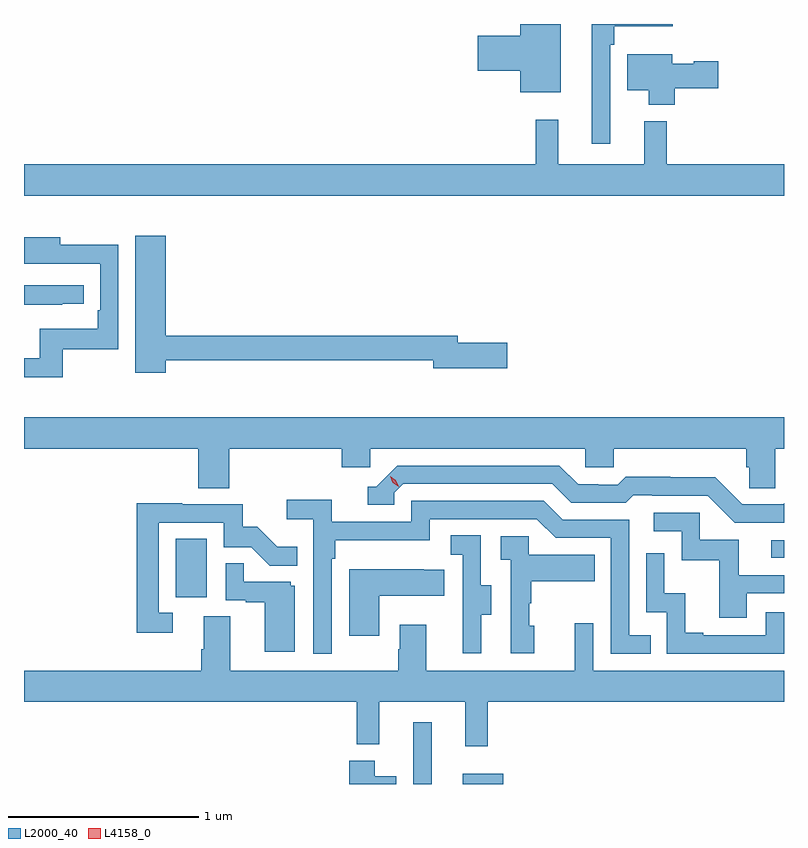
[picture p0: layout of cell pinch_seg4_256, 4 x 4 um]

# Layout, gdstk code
import gdstk
lib = gdstk.Library(unit=1e-6, precision=1e-09)
def R(c, l, rs):  # rectangles x0, y0, x1, y1
    for r in rs: c.add(gdstk.rectangle(r[:2], r[2:], *l))
def P(c, l, *ps):  # polygons
    for p in ps: c.add(gdstk.Polygon(p, *l))
L2000_40 = (2000, 40)
L4158_0 = (4158, 0)

pinch_seg4_256 = lib.new_cell('pinch_seg4_256')
R(pinch_seg4_256, L2000_40, [(928.473,827.023,928.57,827.347), (928.733,827.023,928.948,827.077), (927.224,828.006,927.388,828.313), (930.357,828.213,930.425,828.306)])
P(pinch_seg4_256, L2000_40, [(929.511,830.915),(929.531,830.915),(929.531,831.011),(929.839,831.011),(929.839,831.023),(929.414,831.023),(929.414,830.394),(929.511,830.394)],
  [(929.251,831.023),(929.036,831.023),(929.036,830.96),(928.812,830.96),(928.812,830.777),(929.036,830.777),(929.036,830.663),(929.251,830.663)],
  [(929.849,830.686),(930.079,830.686),(930.079,830.828),(929.949,830.828),(929.949,830.815),(929.836,830.815),(929.836,830.863),(929.6,830.863),(929.6,830.675),(929.714,830.675),(929.714,830.597),(929.849,830.597)],
  [(930.425,830.284),(929.807,830.284),(929.807,830.512),(929.69,830.512),(929.69,830.284),(929.237,830.284),(929.237,830.518),(929.119,830.518),(929.119,830.284),(926.425,830.284),(926.425,830.12),(930.425,830.12)],
  [(927.172,829.254),(928.58,829.254),(928.58,829.211),(928.969,829.211),(928.969,829.346),(928.708,829.346),(928.708,829.382),(927.172,829.382),(927.172,829.909),(927.011,829.909),(927.011,829.188),(927.172,829.188)],
  [(926.629,829.311),(926.922,829.311),(926.922,829.862),(926.617,829.862),(926.617,829.9),(926.425,829.9),(926.425,829.76),(926.513,829.76),(926.513,829.761),(926.826,829.761),(926.826,829.516),(926.813,829.516),(926.813,829.42),(926.508,829.42),(926.508,829.265),(926.425,829.265),(926.425,829.164),(926.629,829.164)],
  [(926.627,829.551),(926.74,829.551),(926.74,829.647),(926.425,829.647),(926.425,829.546),(926.627,829.546)],
  [(927.506,828.788),(928.097,828.788),(928.097,828.69),(928.248,828.69),(928.248,828.788),(929.379,828.788),(929.379,828.69),(929.529,828.69),(929.529,828.788),(930.227,828.788),(930.227,828.69),(930.241,828.69),(930.241,828.58),(930.378,828.58),(930.378,828.788),(930.425,828.788),(930.425,828.952),(926.425,828.952),(926.425,828.788),(927.341,828.788),(927.341,828.58),(927.506,828.58)],
  [(930.425,828.5),(930.42,828.495),(930.204,828.495),(930.062,828.637),(929.826,828.637),(929.826,828.64),(929.593,828.64),(929.551,828.597),(929.448,828.597),(929.448,828.6),(929.341,828.6),(929.242,828.699),(928.389,828.699),(928.278,828.588),(928.235,828.588),(928.235,828.492),(928.374,828.492),(928.374,828.555),(928.422,828.603),(929.205,828.603),(929.304,828.504),(929.593,828.504),(929.632,828.543),(929.731,828.543),(929.731,828.54),(930.024,828.54),(930.165,828.399),(930.425,828.399)],
  [(928.044,828.209),(928.064,828.209),(928.064,828.305),(928.56,828.305),(928.56,828.417),(929.124,828.417),(929.223,828.318),(929.514,828.318),(929.514,827.709),(929.723,827.709),(929.723,827.805),(929.61,827.805),(929.61,828.414),(929.26,828.414),(929.161,828.513),(928.464,828.513),(928.464,828.402),(928.046,828.402),(928.046,828.518),(927.807,828.518),(927.807,828.416),(927.948,828.416),(927.948,827.709),(928.044,827.709)],
  [(927.208,827.925),(927.135,827.925),(927.135,828.399),(927.477,828.399),(927.477,828.27),(927.621,828.27),(927.719,828.172),(927.863,828.172),(927.863,828.271),(927.759,828.271),(927.652,828.378),(927.576,828.378),(927.576,828.495),(927.257,828.495),(927.257,828.5),(927.019,828.5),(927.019,827.82),(927.208,827.82)],
  [(930.229,828.027),(930.425,828.027),(930.425,828.123),(930.187,828.123),(930.187,828.309),(929.982,828.309),(929.982,828.45),(929.739,828.45),(929.739,828.354),(929.886,828.354),(929.886,828.201),(930.085,828.201),(930.085,827.898),(930.229,827.898)],
  [(928.831,827.914),(928.885,827.914),(928.885,828.069),(928.83,828.069),(928.83,828.332),(928.671,828.332),(928.671,828.229),(928.734,828.229),(928.734,827.925),(928.733,827.925),(928.733,827.712),(928.831,827.712)],
  [(929.11,827.856),(929.085,827.856),(929.085,827.975),(929.095,827.975),(929.095,828.089),(929.429,828.089),(929.429,828.229),(929.082,828.229),(929.082,828.327),(928.935,828.327),(928.935,828.203),(928.986,828.203),(928.986,827.712),(929.11,827.712)],
  [(930.425,827.928),(930.33,827.928),(930.33,827.805),(930.001,827.805),(930.001,827.818),(929.906,827.818),(929.906,828.026),(929.796,828.026),(929.796,828.238),(929.7,828.238),(929.7,827.928),(929.808,827.928),(929.808,827.709),(930.425,827.709)],
  [(927.85,828.066),(927.828,828.066),(927.828,828.087),(927.581,828.087),(927.581,828.185),(927.486,828.185),(927.486,827.991),(927.593,827.991),(927.593,827.979),(927.692,827.979),(927.692,827.718),(927.85,827.718)],
  [(928.294,828.014),(928.637,828.014),(928.637,828.151),(928.529,828.151),(928.529,828.154),(928.136,828.154),(928.136,827.802),(928.294,827.802)],
  [(928.403,827.86),(928.403,827.732),(928.396,827.732),(928.396,827.62),(927.511,827.62),(927.511,827.906),(927.371,827.906),(927.371,827.732),(927.359,827.732),(927.359,827.62),(926.425,827.62),(926.425,827.456),(928.177,827.456),(928.177,827.231),(928.295,827.231),(928.295,827.456),(928.748,827.456),(928.748,827.223),(928.865,827.223),(928.865,827.456),(930.425,827.456),(930.425,827.62),(929.421,827.62),(929.421,827.869),(929.324,827.869),(929.324,827.62),(928.543,827.62),(928.543,827.86)],
  [(928.384,827.065),(928.27,827.065),(928.27,827.146),(928.136,827.146),(928.136,827.023),(928.384,827.023)])
P(pinch_seg4_256, L4158_0, [(928.397,828.588),(928.367,828.609),(928.352,828.642),(928.352,828.642),(928.352,828.642),(928.382,828.622),(928.398,828.589),(928.398,828.588)])

lib.write_gds('pinch_seg4_256.gds')
